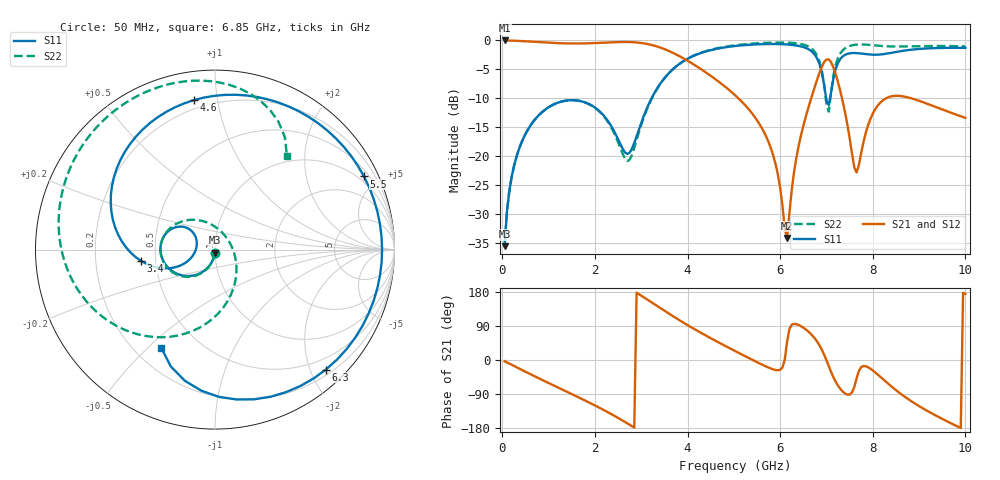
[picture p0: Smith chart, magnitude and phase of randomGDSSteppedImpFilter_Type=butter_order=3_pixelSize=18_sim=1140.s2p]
! freq	dB(S11)	phase(S11)	dB(S12)	phase(S12)
!  dB(S21)	phase(S21)	dB(S22)	phase(S22)
!S-par simulation data
#  GHz  S  DB  R 50
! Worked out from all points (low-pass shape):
!   200 points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, 50 MHz to 10 GHz, reference 50 ohm
!   highest |S21| = -0.01 dB at 50 MHz (marker M1); lowest = -34.2 dB at 6.15 GHz (marker M2)
!   |S21| within 3 dB of the highest: start of sweep to 3.89 GHz
!   lowest |S11| = -35.6 dB at 50 MHz (marker M3), VSWR 1.03, Z = 49.9 - j1.66 ohm
!   |S11| at or under -10 dB: start of sweep to 3.225 GHz; 6.993 GHz to 7.077 GHz (83.87 MHz wide, 1.19 % of centre)
!   |S22| runs from -35.6 to -0.4 dB; largest |S21 - S12| = 0
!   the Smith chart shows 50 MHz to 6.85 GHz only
!   S11 on the Smith chart (normalised r, x): 50 MHz: 1.00, -0.03; 3.4 GHz: 0.41, -0.06; 4.6 GHz: 0.15, +0.86; 5.5 GHz: 0.74, +4.18; 6.3 GHz: 0.29, -2.25; 6.85 GHz: 0.31, -0.55
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0.05  -35.60 -92.7  -0.01 -3.2  -0.01 -3.2  -35.60 -92.5
0.2  -23.71 -102.9  -0.04 -12.5  -0.04 -12.5  -23.71 -102.4
0.5  -16.20 -122.1  -0.15 -31.0  -0.15 -31.0  -16.20 -120.8
1.75  -10.62 165.6  -0.52 -104.6  -0.52 -104.6  -10.65 164.6
2.7  -19.64 170.2  -0.27 -167.2  -0.27 -167.2  -20.87 34.6
3.4  -7.62 -171.2  -1.20 138.1  -1.20 138.1  -7.67 -96.5
4  -3.19 144.3  -3.51 92.1  -3.51 92.1  -3.15 -142.5
4.6  -1.50 98.1  -6.70 51.0  -6.70 51.0  -1.42 -177.9
5.05  -0.95 62.9  -9.65 22.2  -9.65 22.2  -0.82 159.4
5.5  -0.68 26.1  -13.80 -5.8  -13.80 -5.8  -0.50 138.0
6.15  -0.70 -32.2  -34.19 48.4  -34.19 48.4  -0.38 106.0
6.3  -0.82 -47.3  -22.77 95.3  -22.77 95.3  -0.45 97.6
6.7  -2.04 -95.5  -9.23 64.0  -9.23 64.0  -1.55 68.5
6.85  -4.10 -118.7  -5.60 38.5  -5.60 38.5  -3.65 52.4
7.05  -11.22 -101.3  -3.29 -16.4  -3.29 -16.4  -12.31 89.9
7.15  -6.57 -88.6  -4.65 -45.5  -4.65 -45.5  -6.09 112.3
7.35  -2.77 -124.1  -10.53 -83.2  -10.53 -83.2  -1.73 91.0
7.7  -2.23 167.5  -21.57 -28.9  -21.57 -28.9  -0.70 62.7
8.05  -2.48 90.7  -11.94 -32.5  -11.94 -32.5  -0.86 42.7
8.35  -2.22 28.1  -9.79 -64.4  -9.79 -64.4  -1.03 28.7
9.1  -1.42 -73.7  -10.74 -128.9  -10.74 -128.9  -0.98 -5.8
10  -1.29 -146.8  -13.40 174.5  -13.40 174.5  -1.03 -50.5
